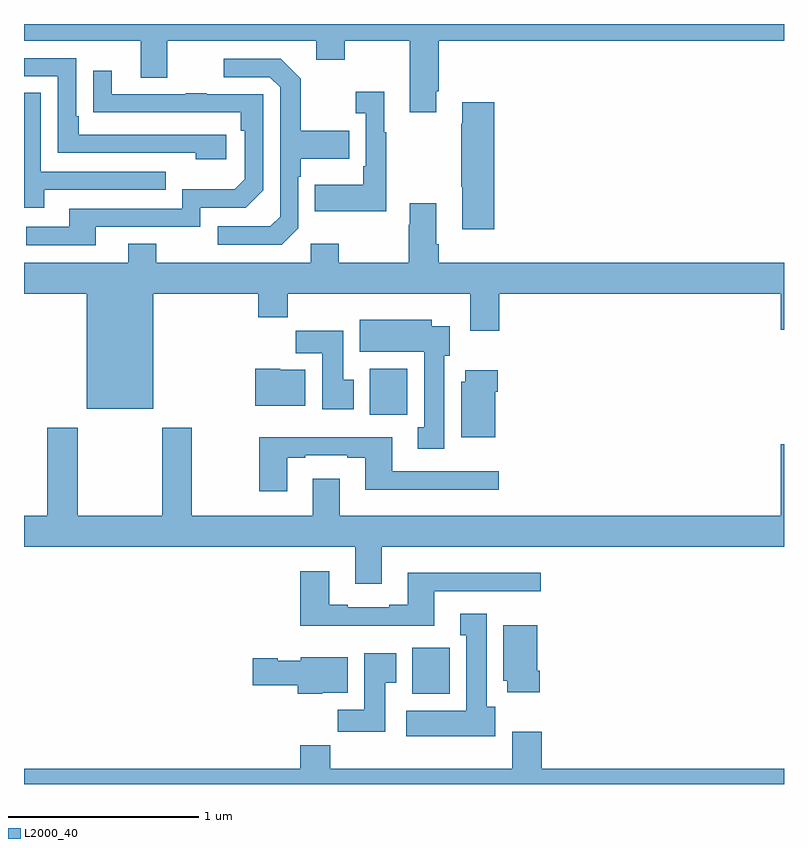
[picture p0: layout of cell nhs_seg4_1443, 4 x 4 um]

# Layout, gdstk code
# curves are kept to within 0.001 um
import gdstk
lib = gdstk.Library(unit=1e-6, precision=1e-09)
def R(c, l, rs):  # rectangles x0, y0, x1, y1
    for r in rs: c.add(gdstk.rectangle(r[:2], r[2:], *l))
def P(c, l, *ps):  # polygons
    for p in ps: c.add(gdstk.Polygon(p, *l))
L2000_40 = (2000, 40)

nhs_seg4_1443 = lib.new_cell('nhs_seg4_1443')
R(nhs_seg4_1443, L2000_40, [(187.043,801.374,187.24,801.616), (186.821,802.844,187.018,803.086)])
P(nhs_seg4_1443, L2000_40, [(187.171,804.547),(187.184,804.547),(187.184,804.812),(189,804.812),(189,804.9),(185,804.9),(185,804.812),(185.615,804.812),(185.615,804.618),(185.755,804.618),(185.755,804.812),(186.539,804.812),(186.539,804.713),(186.687,804.713),(186.687,804.812),(187.031,804.812),(187.031,804.435),(187.171,804.435)],
  [(186.064,804.318),(185.287,804.318),(185.287,804.415),(185.274,804.415),(185.274,804.72),(185,804.72),(185,804.624),(185.178,804.624),(185.178,804.222),(185.903,804.222),(185.903,804.188),(186.064,804.188)],
  [(186.444,803.826),(186.444,804.095),(186.457,804.095),(186.457,804.191),(186.713,804.191),(186.713,804.339),(186.457,804.339),(186.457,804.611),(186.351,804.717),(186.051,804.717),(186.051,804.621),(186.294,804.621),(186.348,804.567),(186.348,803.886),(186.297,803.835),(186.021,803.835),(186.021,803.739),(186.357,803.739)],
  [(185.377,803.832),(185.928,803.832),(185.928,803.934),(186.168,803.934),(186.258,804.024),(186.258,804.531),(185.963,804.531),(185.963,804.536),(185.851,804.536),(185.851,804.531),(185.461,804.531),(185.461,804.655),(185.365,804.655),(185.365,804.436),(186.142,804.435),(186.142,804.338),(186.162,804.338),(186.162,804.084),(186.109,804.031),(185.832,804.031),(185.832,803.928),(185.237,803.928),(185.237,803.832),(185.013,803.832),(185.013,803.736),(185.377,803.736)],
  [(186.907,804.331),(186.895,804.331),(186.895,804.544),(186.747,804.544),(186.747,804.431),(186.798,804.431),(186.798,804.151),(186.786,804.151),(186.786,804.055),(186.529,804.055),(186.529,803.915),(186.907,803.915)],
  [(185.107,804.027),(185.747,804.027),(185.747,804.123),(185.088,804.123),(185.088,804.539),(185,804.539),(185,803.933),(185.107,803.933)],
  [(187.475,804.487),(187.307,804.487),(187.307,804.374),(187.3,804.374),(187.3,804.043),(187.307,804.043),(187.307,803.82),(187.475,803.82)],
  [(185.68,803.48),(186.233,803.48),(186.233,803.356),(186.389,803.356),(186.389,803.48),(187.349,803.48),(187.349,803.286),(187.502,803.286),(187.502,803.48),(188.984,803.48),(188.984,803.292),(189,803.292),(189,803.644),(187.184,803.644),(187.184,803.74),(187.171,803.74),(187.171,803.956),(187.031,803.956),(187.031,803.843),(187.024,803.843),(187.024,803.644),(186.657,803.644),(186.657,803.743),(186.51,803.743),(186.51,803.644),(185.697,803.644),(185.697,803.743),(185.549,803.743),(185.549,803.644),(185,803.644),(185,803.48),(185.33,803.48),(185.33,802.874),(185.68,802.874)],
  [(187.213,803.154),(187.24,803.154),(187.24,803.308),(187.147,803.308),(187.147,803.344),(186.767,803.344),(186.767,803.174),(187.106,803.174),(187.106,802.778),(187.073,802.778),(187.073,802.665),(187.213,802.665)],
  [(186.736,803.028),(186.679,803.028),(186.679,803.286),(186.43,803.286),(186.43,803.168),(186.569,803.168),(186.569,802.872),(186.736,802.872)],
  [(186.481,803.08),(186.348,803.08),(186.348,803.086),(186.218,803.086),(186.218,802.892),(186.481,802.892)],
  [(187.48,802.964),(187.493,802.964),(187.493,803.077),(187.322,803.077),(187.322,803.016),(187.301,803.016),(187.301,802.724),(187.48,802.724)],
  [(186.883,802.148),(189,802.148),(189,802.687),(188.984,802.687),(188.984,802.312),(186.661,802.312),(186.661,802.507),(186.521,802.507),(186.521,802.312),(185.883,802.312),(185.883,802.774),(185.728,802.774),(185.728,802.312),(185.283,802.312),(185.283,802.774),(185.123,802.774),(185.123,802.312),(185,802.312),(185,802.148),(186.743,802.148),(186.743,801.954),(186.883,801.954)],
  [(186.385,802.617),(186.481,802.617),(186.481,802.629),(186.701,802.629),(186.701,802.617),(186.797,802.617),(186.797,802.448),(187.498,802.448),(187.498,802.545),(186.937,802.545),(186.937,802.726),(186.238,802.726),(186.238,802.44),(186.385,802.44)],
  [(187.159,801.915),(187.72,801.915),(187.72,802.012),(187.019,802.012),(187.019,801.844),(186.923,801.844),(186.923,801.831),(186.703,801.831),(186.703,801.844),(186.607,801.844),(186.607,802.021),(186.455,802.021),(186.455,801.734),(187.159,801.734)],
  [(187.48,801.306),(187.435,801.306),(187.435,801.796),(187.295,801.796),(187.295,801.683),(187.328,801.683),(187.328,801.286),(187.011,801.286),(187.011,801.152),(187.48,801.152)],
  [(187.715,801.496),(187.702,801.496),(187.702,801.736),(187.523,801.736),(187.523,801.444),(187.544,801.444),(187.544,801.384),(187.715,801.384)],
  [(186.901,801.433),(186.958,801.433),(186.958,801.589),(186.791,801.589),(186.791,801.292),(186.652,801.292),(186.652,801.174),(186.901,801.174)],
  [(186.57,801.38),(186.703,801.38),(186.703,801.568),(186.456,801.568),(186.456,801.55),(186.336,801.55),(186.336,801.563),(186.204,801.563),(186.204,801.421),(186.44,801.421),(186.44,801.374),(186.57,801.374)],
  [(189,800.98),(187.724,800.98),(187.724,801.175),(187.571,801.175),(187.571,800.98),(186.611,800.98),(186.611,801.104),(186.455,801.104),(186.455,800.98),(185,800.98),(185,800.9),(189,800.9)])

lib.write_gds('nhs_seg4_1443.gds')
